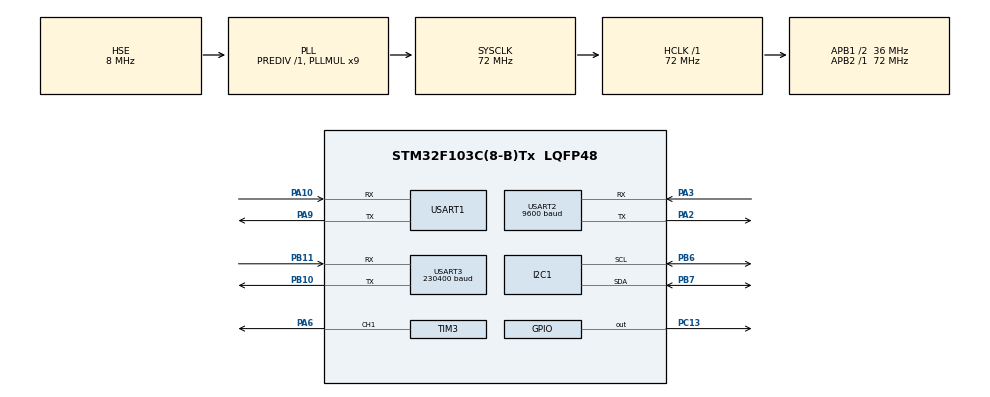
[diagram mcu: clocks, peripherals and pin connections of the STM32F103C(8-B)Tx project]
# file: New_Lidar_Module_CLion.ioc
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Dma.Request0=USART1_RX
Dma.Request1=USART3_RX
Dma.Request2=TIM3_CH1/TRIG
Dma.TIM3_CH1/TRIG.2.Direction=DMA_MEMORY_TO_PERIPH
Dma.TIM3_CH1/TRIG.2.Instance=DMA1_Channel6
Dma.TIM3_CH1/TRIG.2.MemDataAlignment=DMA_MDATAALIGN_HALFWORD
Dma.TIM3_CH1/TRIG.2.MemInc=DMA_MINC_ENABLE
Dma.TIM3_CH1/TRIG.2.Mode=DMA_NORMAL
Dma.TIM3_CH1/TRIG.2.PeriphDataAlignment=DMA_PDATAALIGN_HALFWORD
Dma.TIM3_CH1/TRIG.2.PeriphInc=DMA_PINC_DISABLE
Dma.TIM3_CH1/TRIG.2.Priority=DMA_PRIORITY_HIGH
Dma.USART1_RX.0.Direction=DMA_PERIPH_TO_MEMORY
Dma.USART1_RX.0.Instance=DMA1_Channel5
Dma.USART1_RX.0.MemDataAlignment=DMA_MDATAALIGN_BYTE
Dma.USART1_RX.0.MemInc=DMA_MINC_ENABLE
Dma.USART1_RX.0.Mode=DMA_NORMAL
Dma.USART1_RX.0.PeriphDataAlignment=DMA_PDATAALIGN_BYTE
Dma.USART1_RX.0.PeriphInc=DMA_PINC_DISABLE
Dma.USART1_RX.0.Priority=DMA_PRIORITY_LOW
Dma.USART3_RX.1.Direction=DMA_PERIPH_TO_MEMORY
Dma.USART3_RX.1.Instance=DMA1_Channel3
Dma.USART3_RX.1.MemDataAlignment=DMA_MDATAALIGN_BYTE
Dma.USART3_RX.1.MemInc=DMA_MINC_ENABLE
Dma.USART3_RX.1.Mode=DMA_CIRCULAR
Dma.USART3_RX.1.PeriphDataAlignment=DMA_PDATAALIGN_BYTE
Dma.USART3_RX.1.PeriphInc=DMA_PINC_DISABLE
Dma.USART3_RX.1.Priority=DMA_PRIORITY_LOW
I2C1.I2C_Mode=I2C_Fast
Mcu.Family=STM32F1
Mcu.Name=STM32F103C(8-B)Tx
Mcu.Package=LQFP48
NVIC.DMA1_Channel3_IRQn=true\:0\:0\:false\:false\:true\:false\:true\:true
NVIC.DMA1_Channel5_IRQn=true\:0\:0\:false\:false\:true\:false\:true\:true
NVIC.DMA1_Channel6_IRQn=true\:0\:0\:false\:false\:true\:false\:true\:true
NVIC.PriorityGroup=NVIC_PRIORITYGROUP_4
NVIC.USART1_IRQn=true\:0\:0\:false\:false\:true\:true\:true\:true
NVIC.USART2_IRQn=true\:0\:0\:false\:false\:true\:true\:true\:true
NVIC.USART3_IRQn=true\:0\:0\:false\:false\:true\:true\:true\:true
PA10.Mode=Asynchronous
PA10.Signal=USART1_RX
PA13.Mode=Serial_Wire
PA13.Signal=SYS_JTMS-SWDIO
PA14.Mode=Serial_Wire
PA14.Signal=SYS_JTCK-SWCLK
PA2.Mode=Asynchronous
PA2.Signal=USART2_TX
PA3.Mode=Asynchronous
PA3.Signal=USART2_RX
PA6.Signal=S_TIM3_CH1
PA9.Mode=Asynchronous
PA9.Signal=USART1_TX
PB10.Mode=Asynchronous
PB10.Signal=USART3_TX
PB11.Mode=Asynchronous
PB11.Signal=USART3_RX
PB6.Mode=I2C
PB6.Signal=I2C1_SCL
PB7.Mode=I2C
PB7.Signal=I2C1_SDA
PC13-TAMPER-RTC.GPIO_ModeDefaultOutputPP=GPIO_MODE_OUTPUT_OD
PC13-TAMPER-RTC.GPIO_PuPd=GPIO_NOPULL
PC13-TAMPER-RTC.PinState=GPIO_PIN_SET
PC13-TAMPER-RTC.Signal=GPIO_Output
PD0-OSC_IN.Mode=HSE-External-Oscillator
PD0-OSC_IN.Signal=RCC_OSC_IN
PD1-OSC_OUT.Mode=HSE-External-Oscillator
PD1-OSC_OUT.Signal=RCC_OSC_OUT
ProjectManager.HeapSize=0x200
ProjectManager.StackSize=0x400
ProjectManager.TargetToolchain=CMake
RCC.AHBFreq_Value=72000000
RCC.APB1CLKDivider=RCC_HCLK_DIV2
RCC.APB1Freq_Value=36000000
RCC.APB1TimFreq_Value=72000000
RCC.APB2Freq_Value=72000000
RCC.APB2TimFreq_Value=72000000
RCC.HCLKFreq_Value=72000000
RCC.PLLMUL=RCC_PLL_MUL9
RCC.PLLSourceVirtual=RCC_PLLSOURCE_HSE
RCC.SYSCLKFreq_VALUE=72000000
RCC.SYSCLKSource=RCC_SYSCLKSOURCE_PLLCLK
RCC.USBFreq_Value=72000000
SH.S_TIM3_CH1.0=TIM3_CH1,PWM Generation1 CH1
TIM3.Channel-PWM\ Generation1\ CH1=TIM_CHANNEL_1
TIM3.Period=89
USART1.VirtualMode=VM_ASYNC
USART2.BaudRate=9600
USART2.VirtualMode=VM_ASYNC
USART3.BaudRate=230400
USART3.VirtualMode=VM_ASYNC
VP_TIM3_VS_ClockSourceINT.Mode=Internal
board=custom

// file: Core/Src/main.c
/* USER CODE BEGIN Header */
/**
  ******************************************************************************
  * @file           : main.c
  * @brief          : Main program body
  ******************************************************************************
  * @attention
  *
  * Copyright (c) 2026 STMicroelectronics.
  * All rights reserved.
  *
  * This software is licensed under terms that can be found in the LICENSE file
  * in the root directory of this software component.
  * If no LICENSE file comes with this software, it is provided AS-IS.
  *
  ******************************************************************************
  */
/* USER CODE END Header */
#include "main.h"
#include "dma.h"
#include "i2c.h"
#include "tim.h"
#include "usart.h"
#include "gpio.h"

/* USER CODE BEGIN Includes */
#include "led_control.h"
#include <stdio.h>
#include <string.h>
#include "lidar.h"
#include "ws2812.h"
#include "obstacle_detect.h"

#include "../../user/device/shangweiji/inc/uart_cmd.h"
#include "oled.h"
#include "music_control.h"
/* USER CODE END Includes */

/* USER CODE BEGIN PD */

uint16_t rx_index = 0;
uint8_t rx_buffer[256];
uint8_t uart3_rx_buffer[512];

// 声明DMA句柄
extern DMA_HandleTypeDef hdma_usart1_rx;
extern DMA_HandleTypeDef hdma_usart3_rx;

extern uint8_t g_num_leds;
uint16_t g_safe_distance_max = 820;
uint16_t g_gradient_start = 800;
uint16_t g_yellow_point = 600;
uint16_t g_orange_point = 400;
uint16_t g_red_point = 200;
uint16_t g_critical_threshold = 100;
/* USER CODE END PD */

void SystemClock_Config(void);
/* USER CODE BEGIN PFP */
void print(void)
{
  const char *msg = "USART1 print test\r\n";
  HAL_UART_Transmit(&huart1, (uint8_t *)msg, strlen(msg), HAL_MAX_DELAY);
}
/* USER CODE END PFP */

int main(void)
{

  /* MCU Configuration--------------------------------------------------------*/

  /* Reset of all peripherals, Initializes the Flash interface and the Systick. */
  HAL_Init();

  /* Configure the system clock */
  SystemClock_Config();

  /* Initialize all configured peripherals */
  MX_GPIO_Init();
  MX_DMA_Init();
  MX_USART1_UART_Init();
  MX_USART3_UART_Init();
  MX_I2C1_Init();
  MX_TIM3_Init();
  MX_USART2_UART_Init();
  /* USER CODE BEGIN 2 */
  UART1_Cmd_Init();
  UART1_Cmd_LoadConfig();
  HAL_Delay(20);
  OLED_Init();
  ws2812_SetAll(255,0,0);
/* 在需要显示的地方（例如循环内） */
char num_buf[4]; // 足够放 0-255 和终止符
  Music_Control_volume(30);
  Music_Play();
  /* USER CODE END 2 */

  /* Infinite loop */
  /* USER CODE BEGIN WHILE */
  while (1)
  {

   // print();
      OLED_NewFrame();
      OLED_PrintString(0, 0, "小灯数量:", &font16x16, OLED_COLOR_NORMAL);
      snprintf(num_buf, sizeof(num_buf), "%u", (unsigned)g_num_leds);
      OLED_PrintASCIIString(80, 0, num_buf, &afont16x8, OLED_COLOR_NORMAL);
      OLED_PrintString(0, 16, "安全:", &font16x16, OLED_COLOR_NORMAL);
      snprintf(num_buf, sizeof(num_buf), "%u", (unsigned)g_safe_distance_max);
      OLED_PrintASCIIString(80, 16, num_buf, &afont16x8, OLED_COLOR_NORMAL);
      OLED_PrintString(0, 32, "注意:", &font16x16, OLED_COLOR_NORMAL);
      snprintf(num_buf, sizeof(num_buf), "%u", (unsigned)g_yellow_point);
      OLED_PrintASCIIString(80, 32, num_buf, &afont16x8, OLED_COLOR_NORMAL);
      OLED_PrintString(0, 48, "警告:", &font16x16, OLED_COLOR_NORMAL);
      snprintf(num_buf, sizeof(num_buf), "%u", (unsigned)g_orange_point);
      OLED_PrintASCIIString(80, 48, num_buf, &afont16x8, OLED_COLOR_NORMAL);
      //OLED_PrintASCIIString(80,0,g_num_leds, &font16x16, OLED_COLOR_NORMAL);
      //OLED_DrawImage((128 - (bilibiliImg.w)) / 2, 0, &bilibiliImg, OLED_COLOR_NORMAL);

      OLED_ShowFrame();
      // HAL_Delay(100);
    //ws2812_Update0();
    OLED_NewFrame();
    ws2812_Show();
    HAL_Delay(10);

   //ws2812_Update0();
    /* USER CODE END WHILE */

  }
}

void SystemClock_Config(void)
{
  RCC_OscInitTypeDef RCC_OscInitStruct = {0};
  RCC_ClkInitTypeDef RCC_ClkInitStruct = {0};

  /** Initializes the RCC Oscillators according to the specified parameters
  * in the RCC_OscInitTypeDef structure.
  */
  RCC_OscInitStruct.OscillatorType = RCC_OSCILLATORTYPE_HSE;
  RCC_OscInitStruct.HSEState = RCC_HSE_ON;
  RCC_OscInitStruct.HSEPredivValue = RCC_HSE_PREDIV_DIV1;
  RCC_OscInitStruct.HSIState = RCC_HSI_ON;
  RCC_OscInitStruct.PLL.PLLState = RCC_PLL_ON;
  RCC_OscInitStruct.PLL.PLLSource = RCC_PLLSOURCE_HSE;
  RCC_OscInitStruct.PLL.PLLMUL = RCC_PLL_MUL9;
  if (HAL_RCC_OscConfig(&RCC_OscInitStruct) != HAL_OK)
  {
    Error_Handler();
  }

  /** Initializes the CPU, AHB and APB buses clocks
  */
  RCC_ClkInitStruct.ClockType = RCC_CLOCKTYPE_HCLK|RCC_CLOCKTYPE_SYSCLK
                              |RCC_CLOCKTYPE_PCLK1|RCC_CLOCKTYPE_PCLK2;
  RCC_ClkInitStruct.SYSCLKSource = RCC_SYSCLKSOURCE_PLLCLK;
  RCC_ClkInitStruct.AHBCLKDivider = RCC_SYSCLK_DIV1;
  RCC_ClkInitStruct.APB1CLKDivider = RCC_HCLK_DIV2;
  RCC_ClkInitStruct.APB2CLKDivider = RCC_HCLK_DIV1;

  if (HAL_RCC_ClockConfig(&RCC_ClkInitStruct, FLASH_LATENCY_2) != HAL_OK)
  {
    Error_Handler();
  }
}

/* USER CODE BEGIN 4 */

void HAL_UARTEx_RxEventCallback(UART_HandleTypeDef *huart, uint16_t Size)
{
  if (huart->Instance == USART1)
  {
    if (Size > 0) {
      UART1_Cmd_OnRxData(UART1_Cmd_GetRxBuffer(), Size);
    }
    HAL_UARTEx_ReceiveToIdle_DMA(&huart1, UART1_Cmd_GetRxBuffer(), UART1_Cmd_GetRxBufferSize());
    if (huart1.hdmarx != NULL) {
      __HAL_DMA_DISABLE_IT(huart1.hdmarx, DMA_IT_HT);
    }
  }
}

void HAL_UART_TxCpltCallback(UART_HandleTypeDef *huart)
{
  if (huart->Instance == USART1)
  {
    UART1_Cmd_OnTxDone();
  }
}

/* USER CODE END 4 */

void Error_Handler(void)
{
    __disable_irq();
    while (1)
    {
    }
}
